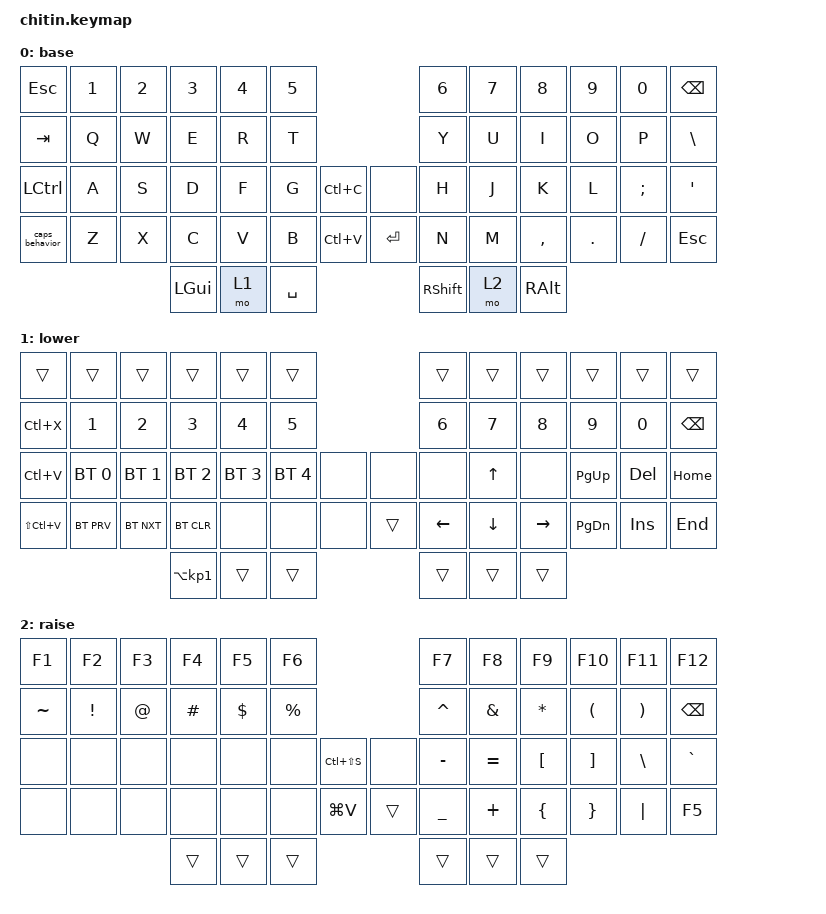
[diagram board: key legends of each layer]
#include <behaviors.dtsi>
#include <dt-bindings/zmk/bt.h>
#include <dt-bindings/zmk/keys.h>

/ {
    macros {
        paste_macro: paste_macro {
            compatible = "zmk,behavior-macro";
            #binding-cells = <0>;
            bindings = <&macro_press>, <&kp LS(LC(V))>, <&macro_release>;

            label = "PASTE_MACRO";
        };
    };

    behaviors {
        caps_behavior: caps_behavior {
            compatible = "zmk,behavior-tap-dance";
            label = "CAPS_BEHAVIOR";
            #binding-cells = <0>;
            bindings = <&kp LEFT_SHIFT>, <&kp CAPS>;
        };
    };

    keymap {
        compatible = "zmk,keymap";

        base {
            bindings = <
&kp ESCAPE      &kp N1  &kp N2  &kp N3    &kp N4  &kp N5                             &kp N6           &kp N7  &kp N8     &kp N9      &kp N0    &kp BACKSPACE
&kp TAB         &kp Q   &kp W   &kp E     &kp R   &kp T                              &kp Y            &kp U   &kp I      &kp O       &kp P     &kp BACKSLASH
&kp LCTRL       &kp A   &kp S   &kp D     &kp F   &kp G      &kp LC(C)    &none      &kp H            &kp J   &kp K      &kp L       &kp SEMI  &kp SQT
&caps_behavior  &kp Z   &kp X   &kp C     &kp V   &kp B      &kp LC(V)    &kp ENTER  &kp N            &kp M   &kp COMMA  &kp PERIOD  &kp FSLH  &kp ESC
                                &kp LGUI  &mo 1   &kp SPACE                          &kp RIGHT_SHIFT  &mo 2   &kp RALT
            >;
        };

        lower {
            bindings = <
&trans         &trans        &trans        &trans               &trans        &trans                         &trans    &trans    &trans     &trans         &trans   &trans
&kp LC(X)      &kp N1        &kp N2        &kp N3               &kp N4        &kp N5                         &kp N6    &kp N7    &kp N8     &kp N9         &kp N0   &kp BACKSPACE
&kp LC(V)      &bt BT_SEL 0  &bt BT_SEL 1  &bt BT_SEL 2         &bt BT_SEL 3  &bt BT_SEL 4  &none    &none   &none     &kp UP    &none      &kp PAGE_UP    &kp DEL  &kp HOME
&kp LS(LC(V))  &bt BT_PRV    &bt BT_NXT    &bt BT_CLR           &none         &none         &none    &trans  &kp LEFT  &kp DOWN  &kp RIGHT  &kp PAGE_DOWN  &kp INS  &kp END
                                           &kp LA(KP_NUMBER_1)  &trans        &trans                         &trans    &trans    &trans
            >;
        };

        raise {
            bindings = <
&kp F1     &kp F2    &kp F3  &kp F4    &kp F5    &kp F6                              &kp F7     &kp F8     &kp F9    &kp F10   &kp F11   &kp F12
&kp TILDE  &kp EXCL  &kp AT  &kp HASH  &kp DLLR  &kp PRCNT                           &kp CARET  &kp AMPS   &kp STAR  &kp LPAR  &kp RPAR  &kp BACKSPACE
&none      &none     &none   &none     &none     &none      &kp LC(LS(S))    &none   &kp MINUS  &kp EQUAL  &kp LBKT  &kp RBKT  &kp BSLH  &kp GRAVE
&none      &none     &none   &none     &none     &none      &kp LG(V)        &trans  &kp UNDER  &kp PLUS   &kp LBRC  &kp RBRC  &kp PIPE  &kp F5
                             &trans    &trans    &trans                              &trans     &trans     &trans
            >;
        };
    };
};
